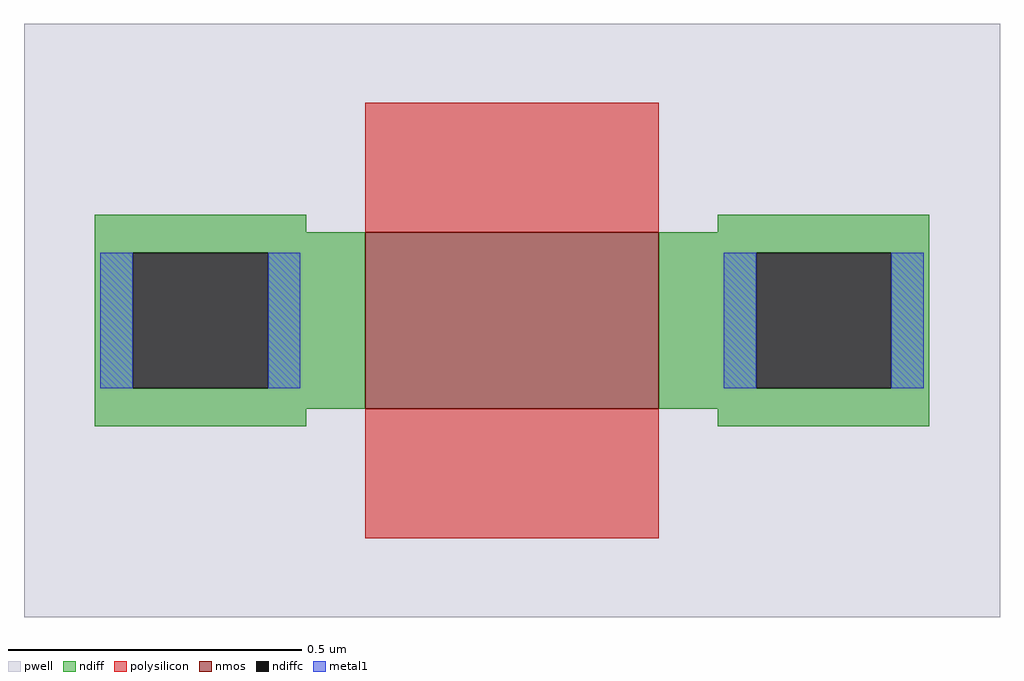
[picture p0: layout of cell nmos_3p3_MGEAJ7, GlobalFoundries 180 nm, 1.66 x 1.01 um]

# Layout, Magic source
magic
tech gf180mcuC
magscale 1 10
<< pwell >>
rect -166 -101 166 101
<< nmos >>
rect -50 -30 50 30
<< ndiff >>
rect -142 30 -70 36
rect 70 30 142 36
rect -142 23 -50 30
rect -142 -23 -129 23
rect -83 -23 -50 23
rect -142 -30 -50 -23
rect 50 23 142 30
rect 50 -23 83 23
rect 129 -23 142 23
rect 50 -30 142 -23
rect -142 -36 -70 -30
rect 70 -36 142 -30
<< ndiffc >>
rect -129 -23 -83 23
rect 83 -23 129 23
<< polysilicon >>
rect -50 30 50 74
rect -50 -74 50 -30
<< metal1 >>
rect -140 -23 -129 23
rect -83 -23 -72 23
rect 72 -23 83 23
rect 129 -23 140 23
<< properties >>
string gencell nmos_3p3
string library gf180mcu
string parameters w 0.3 l 0.5 m 1 nf 1 diffcov 100 polycov 100 guard 0 glc 0 grc 0 gtc 0 gbc 0 tbcov 100 rlcov 100 topc 0 botc 0 poverlap 0 doverlap 1 lmin 0.28 wmin 0.22 full_metal 0 compatible {nmos_3p3 nmos_6p0 nmos_6p0_nat}
<< end >>
